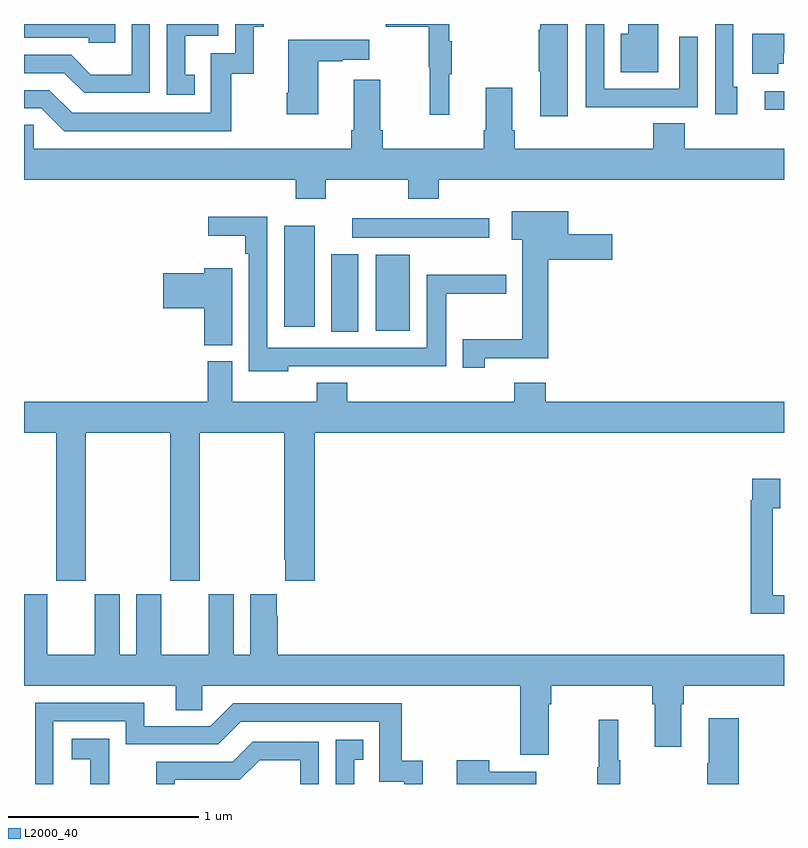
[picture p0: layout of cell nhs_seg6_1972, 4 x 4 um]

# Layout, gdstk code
import gdstk
lib = gdstk.Library(unit=1e-6, precision=1e-09)
def R(c, l, rs):  # rectangles x0, y0, x1, y1
    for r in rs: c.add(gdstk.rectangle(r[:2], r[2:], *l))
def P(c, l, *ps):  # polygons
    for p in ps: c.add(gdstk.Polygon(p, *l))
L2000_40 = (2000, 40)

nhs_seg6_1972 = lib.new_cell('nhs_seg6_1972')
R(nhs_seg6_1972, L2000_40, [(230.618,935.881,230.758,936.289), (230.852,935.885,231.031,936.286), (230.369,935.907,230.53,936.439), (230.727,936.374,231.448,936.478), (232.899,937.049,233,937.146)])
P(nhs_seg6_1972, L2000_40, [(229.898,937.233),(229.849,937.233),(229.849,937.437),(230.022,937.437),(230.022,937.5),(229.752,937.5),(229.752,937.128),(229.898,937.128)],
  [(231.239,937.235),(231.25,937.235),(231.25,937.409),(231.239,937.409),(231.239,937.5),(230.905,937.5),(230.905,937.486),(231.129,937.486),(231.129,937.272),(231.136,937.272),(231.136,937.023),(231.239,937.023)],
  [(232.753,937.17),(232.734,937.17),(232.734,937.5),(232.638,937.5),(232.638,937.026),(232.753,937.026)],
  [(230.092,937.239),(230.21,937.239),(230.21,937.485),(230.263,937.485),(230.263,937.5),(230.112,937.5),(230.112,937.347),(229.983,937.347),(229.983,937.032),(229.254,937.032),(229.134,937.152),(229,937.152),(229,937.056),(229.092,937.056),(229.212,936.936),(230.092,936.936)],
  [(232.339,937.5),(232.181,937.5),(232.181,937.45),(232.142,937.45),(232.142,937.247),(232.339,937.247)],
  [(232.229,937.062),(232.545,937.062),(232.545,937.432),(232.449,937.432),(232.449,937.158),(232.053,937.158),(232.053,937.5),(231.957,937.5),(231.957,937.061),(232.229,937.061)],
  [(229.662,937.5),(229.566,937.5),(229.566,937.234),(229.352,937.234),(229.248,937.338),(229,937.338),(229,937.242),(229.211,937.242),(229.316,937.137),(229.662,937.137)],
  [(231.862,937.5),(231.716,937.5),(231.716,937.469),(231.709,937.469),(231.709,937.252),(231.716,937.252),(231.716,937.014),(231.862,937.014)],
  [(229.481,937.5),(229,937.5),(229,937.428),(229.341,937.428),(229.341,937.401),(229.481,937.401)],
  [(232.971,937.29),(232.998,937.29),(232.998,937.346),(233,937.346),(233,937.45),(232.832,937.45),(232.832,937.238),(232.971,937.238)],
  [(230.548,937.303),(230.675,937.303),(230.675,937.313),(230.818,937.313),(230.818,937.417),(230.39,937.417),(230.39,937.138),(230.383,937.138),(230.383,937.026),(230.548,937.026)],
  [(230.589,936.68),(231.022,936.68),(231.022,936.581),(231.182,936.581),(231.182,936.68),(233,936.68),(233,936.844),(232.478,936.844),(232.478,936.977),(232.313,936.977),(232.313,936.844),(231.584,936.844),(231.584,936.94),(231.571,936.94),(231.571,937.165),(231.431,937.165),(231.431,936.94),(231.419,936.94),(231.419,936.844),(230.888,936.844),(230.888,936.94),(230.875,936.94),(230.875,937.207),(230.735,937.207),(230.735,936.94),(230.723,936.94),(230.723,936.844),(229.05,936.844),(229.05,936.971),(229,936.971),(229,936.68),(230.429,936.68),(230.429,936.581),(230.589,936.581)],
  [(231.426,935.741),(231.758,935.741),(231.758,936.26),(232.096,936.26),(232.096,936.394),(231.865,936.394),(231.865,936.514),(231.567,936.514),(231.567,936.365),(231.623,936.365),(231.623,935.841),(231.308,935.841),(231.308,935.691),(231.426,935.691)],
  [(230.391,935.7),(230.785,935.7),(230.785,935.699),(231.223,935.699),(231.223,936.079),(231.538,936.079),(231.538,936.179),(231.119,936.179),(231.119,935.796),(230.28,935.796),(230.28,936.485),(229.971,936.485),(229.971,936.386),(230.164,936.386),(230.164,936.29),(230.184,936.29),(230.184,935.672),(230.391,935.672)],
  [(230.095,936.214),(229.949,936.214),(229.949,936.188),(229.734,936.188),(229.734,936.005),(229.949,936.005),(229.949,935.809),(230.095,935.809)],
  [(230.371,934.681),(230.375,934.681),(230.375,934.569),(230.531,934.569),(230.531,935.348),(233,935.348),(233,935.512),(231.746,935.512),(231.746,935.611),(231.581,935.611),(231.581,935.512),(230.702,935.512),(230.702,935.611),(230.542,935.611),(230.542,935.512),(230.095,935.512),(230.095,935.724),(229.967,935.724),(229.967,935.512),(229,935.512),(229,935.348),(229.171,935.348),(229.171,934.569),(229.326,934.569),(229.326,935.348),(229.771,935.348),(229.771,934.569),(229.926,934.569),(229.926,935.348),(230.371,935.348)],
  [(233,934.494),(232.941,934.494),(232.941,934.951),(232.981,934.951),(232.981,935.107),(232.833,935.107),(232.833,934.994),(232.825,934.994),(232.825,934.397),(233,934.397)],
  [(230.336,934.385),(230.329,934.385),(230.329,934.498),(230.192,934.498),(230.192,934.18),(230.104,934.18),(230.104,934.498),(229.973,934.498),(229.973,934.18),(229.723,934.18),(229.723,934.498),(229.592,934.498),(229.592,934.18),(229.504,934.18),(229.504,934.498),(229.373,934.498),(229.373,934.18),(229.123,934.18),(229.123,934.498),(229,934.498),(229,934.016),(229.799,934.016),(229.799,933.889),(229.938,933.889),(229.938,934.016),(231.611,934.016),(231.611,933.654),(231.763,933.654),(231.763,933.92),(231.776,933.92),(231.776,934.016),(232.307,934.016),(232.307,933.92),(232.319,933.92),(232.319,933.696),(232.459,933.696),(232.459,933.92),(232.472,933.92),(232.472,934.016),(233,934.016),(233,934.18),(230.336,934.18)],
  [(229.155,933.831),(229.536,933.831),(229.536,933.708),(230.022,933.708),(230.142,933.828),(230.871,933.828),(230.871,933.513),(231,933.513),(231,933.5),(231.098,933.5),(231.098,933.622),(230.987,933.622),(230.987,933.924),(230.1,933.924),(229.98,933.804),(229.633,933.804),(229.633,933.927),(229.059,933.927),(229.059,933.5),(229.155,933.5)],
  [(232.763,933.847),(232.604,933.847),(232.604,933.608),(232.597,933.608),(232.597,933.5),(232.763,933.5)],
  [(232.138,933.625),(232.127,933.625),(232.127,933.838),(232.024,933.838),(232.024,933.588),(232.017,933.588),(232.017,933.5),(232.138,933.5)],
  [(229.448,933.533),(229.449,933.533),(229.449,933.739),(229.251,933.739),(229.251,933.629),(229.349,933.629),(229.349,933.5),(229.448,933.5)],
  [(230.737,933.627),(230.786,933.627),(230.786,933.733),(230.64,933.733),(230.64,933.5),(230.737,933.5)],
  [(229.794,933.522),(230.136,933.522),(230.24,933.626),(230.454,933.626),(230.454,933.5),(230.55,933.5),(230.55,933.723),(230.204,933.723),(230.099,933.618),(229.696,933.618),(229.696,933.5),(229.794,933.5)],
  [(231.697,933.565),(231.449,933.565),(231.449,933.625),(231.278,933.625),(231.278,933.5),(231.697,933.5)])

lib.write_gds('nhs_seg6_1972.gds')
